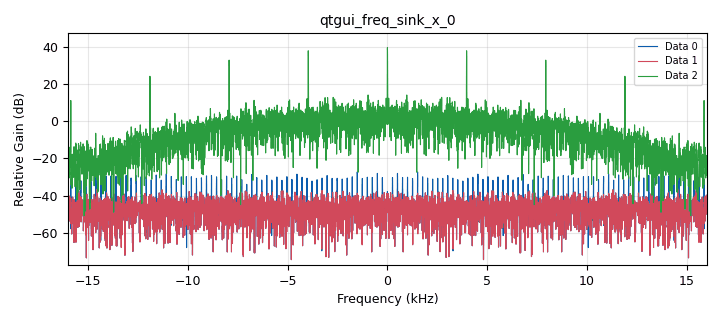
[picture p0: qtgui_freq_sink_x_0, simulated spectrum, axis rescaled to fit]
<?xml version='1.0' encoding='utf-8'?>
<?grc format='1' created='3.7.13'?>
<flow_graph>
<block>
<key>options</key>
<param><key>id</key><value>top_block</value></param>
<param><key>generate_options</key><value>qt_gui</value></param>
</block>
<block>
<key>variable_qtgui_range</key>
<param><key>id</key><value>An</value></param>
<param><key>value</key><value>1</value></param>
<param><key>orient</key><value>Qt.Horizontal</value></param>
<param><key>start</key><value>0</value></param>
<param><key>step</key><value>.1</value></param>
<param><key>stop</key><value>5000</value></param>
</block>
<block>
<key>variable</key>
<param><key>id</key><value>N</value></param>
<param><key>value</key><value>1024</value></param>
</block>
<block>
<key>variable</key>
<param><key>id</key><value>samp_rate</value></param>
<param><key>value</key><value>32000</value></param>
</block>
<block>
<key>analog_fastnoise_source_x</key>
<param><key>id</key><value>analog_fastnoise_source_x_0</value></param>
<param><key>amp</key><value>An</value></param>
<param><key>comment</key><value>40 ok =&gt; 20*log10(40)=32 dB
exposant sur 8 bits = 48 bits</value></param>
<param><key>noise_type</key><value>analog.GR_GAUSSIAN</value></param>
<param><key>type</key><value>float</value></param>
<param><key>seed</key><value>5</value></param>
<param><key>samples</key><value>8192</value></param>
</block>
<block>
<key>blocks_add_xx</key>
<param><key>id</key><value>blocks_add_xx_0</value></param>
<param><key>type</key><value>float</value></param>
</block>
<block>
<key>blocks_complex_to_real</key>
<param><key>id</key><value>blocks_complex_to_real_0</value></param>
</block>
<block>
<key>blocks_multiply_conjugate_cc</key>
<param><key>id</key><value>blocks_multiply_conjugate_cc_0</value></param>
<param><key>vlen</key><value>N</value></param>
</block>
<block>
<key>blocks_stream_to_vector</key>
<param><key>id</key><value>blocks_stream_to_vector_0</value></param>
<param><key>type</key><value>float</value></param>
<param><key>num_items</key><value>N</value></param>
</block>
<block>
<key>blocks_stream_to_vector</key>
<param><key>id</key><value>blocks_stream_to_vector_0_0</value></param>
<param><key>type</key><value>float</value></param>
<param><key>num_items</key><value>N</value></param>
</block>
<block>
<key>blocks_throttle</key>
<param><key>id</key><value>blocks_throttle_0_0</value></param>
<param><key>samples_per_second</key><value>samp_rate</value></param>
<param><key>type</key><value>float</value></param>
</block>
<block>
<key>blocks_vector_to_stream</key>
<param><key>id</key><value>blocks_vector_to_stream_0</value></param>
<param><key>type</key><value>complex</value></param>
<param><key>num_items</key><value>N</value></param>
</block>
<block>
<key>digital_glfsr_source_x</key>
<param><key>id</key><value>digital_glfsr_source_x_0_0</value></param>
<param><key>degree</key><value>7</value></param>
<param><key>mask</key><value>0</value></param>
<param><key>repeat</key><value>True</value></param>
<param><key>seed</key><value>1</value></param>
<param><key>type</key><value>float</value></param>
</block>
<block>
<key>fft_vxx</key>
<param><key>id</key><value>fft_vxx_0</value></param>
<param><key>fft_size</key><value>N</value></param>
<param><key>forward</key><value>False</value></param>
<param><key>type</key><value>float</value></param>
<param><key>shift</key><value>True</value></param>
<param><key>window</key><value>window.blackmanharris(N)</value></param>
</block>
<block>
<key>fft_vxx</key>
<param><key>id</key><value>fft_vxx_0_0</value></param>
<param><key>fft_size</key><value>N</value></param>
<param><key>forward</key><value>False</value></param>
<param><key>type</key><value>float</value></param>
<param><key>shift</key><value>True</value></param>
<param><key>window</key><value>window.blackmanharris(N)</value></param>
</block>
<block>
<key>qtgui_freq_sink_x</key>
<param><key>id</key><value>qtgui_freq_sink_x_0</value></param>
<param><key>bw</key><value>samp_rate</value></param>
<param><key>fc</key><value>0</value></param>
<param><key>fftsize</key><value>1024*8</value></param>
<param><key>label2</key><value></value></param>
<param><key>label3</key><value></value></param>
<param><key>nconnections</key><value>3</value></param>
<param><key>showports</key><value>True</value></param>
<param><key>type</key><value>float</value></param>
<param><key>wintype</key><value>firdes.WIN_BLACKMAN_hARRIS</value></param>
</block>
<connection><source_block_id>analog_fastnoise_source_x_0</source_block_id><sink_block_id>blocks_add_xx_0</sink_block_id><source_key>0</source_key><sink_key>1</sink_key></connection>
<connection><source_block_id>analog_fastnoise_source_x_0</source_block_id><sink_block_id>blocks_throttle_0_0</sink_block_id><source_key>0</source_key><sink_key>0</sink_key></connection>
<connection><source_block_id>blocks_add_xx_0</source_block_id><sink_block_id>blocks_stream_to_vector_0</sink_block_id><source_key>0</source_key><sink_key>0</sink_key></connection>
<connection><source_block_id>blocks_add_xx_0</source_block_id><sink_block_id>qtgui_freq_sink_x_0</sink_block_id><source_key>0</source_key><sink_key>0</sink_key></connection>
<connection><source_block_id>blocks_complex_to_real_0</source_block_id><sink_block_id>qtgui_freq_sink_x_0</sink_block_id><source_key>0</source_key><sink_key>2</sink_key></connection>
<connection><source_block_id>blocks_multiply_conjugate_cc_0</source_block_id><sink_block_id>blocks_vector_to_stream_0</sink_block_id><source_key>0</source_key><sink_key>0</sink_key></connection>
<connection><source_block_id>blocks_stream_to_vector_0</source_block_id><sink_block_id>fft_vxx_0_0</sink_block_id><source_key>0</source_key><sink_key>0</sink_key></connection>
<connection><source_block_id>blocks_stream_to_vector_0_0</source_block_id><sink_block_id>fft_vxx_0</sink_block_id><source_key>0</source_key><sink_key>0</sink_key></connection>
<connection><source_block_id>blocks_throttle_0_0</source_block_id><sink_block_id>qtgui_freq_sink_x_0</sink_block_id><source_key>0</source_key><sink_key>1</sink_key></connection>
<connection><source_block_id>blocks_vector_to_stream_0</source_block_id><sink_block_id>blocks_complex_to_real_0</sink_block_id><source_key>0</source_key><sink_key>0</sink_key></connection>
<connection><source_block_id>digital_glfsr_source_x_0_0</source_block_id><sink_block_id>blocks_add_xx_0</sink_block_id><source_key>0</source_key><sink_key>0</sink_key></connection>
<connection><source_block_id>digital_glfsr_source_x_0_0</source_block_id><sink_block_id>blocks_stream_to_vector_0_0</sink_block_id><source_key>0</source_key><sink_key>0</sink_key></connection>
<connection><source_block_id>fft_vxx_0</source_block_id><sink_block_id>blocks_multiply_conjugate_cc_0</sink_block_id><source_key>0</source_key><sink_key>0</sink_key></connection>
<connection><source_block_id>fft_vxx_0_0</source_block_id><sink_block_id>blocks_multiply_conjugate_cc_0</sink_block_id><source_key>0</source_key><sink_key>1</sink_key></connection>
</flow_graph>
